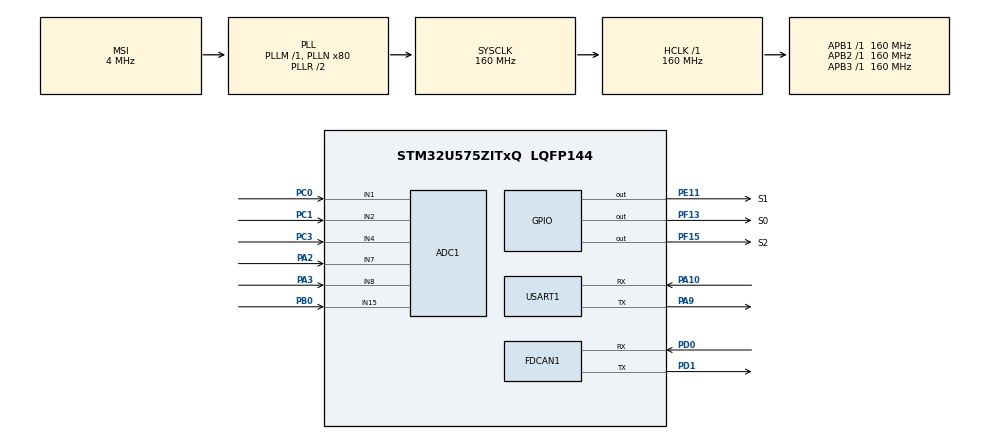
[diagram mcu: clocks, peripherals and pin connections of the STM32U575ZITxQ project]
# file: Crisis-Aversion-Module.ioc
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ADC1.Channel-1\#ChannelRegularConversion=ADC_CHANNEL_8
ADC1.Channel-2\#ChannelRegularConversion=ADC_CHANNEL_7
ADC1.Channel-3\#ChannelRegularConversion=ADC_CHANNEL_4
ADC1.Channel-4\#ChannelRegularConversion=ADC_CHANNEL_15
ADC1.Channel-5\#ChannelRegularConversion=ADC_CHANNEL_2
ADC1.Channel-6\#ChannelRegularConversion=ADC_CHANNEL_1
ADC1.ClockPrescaler=ADC_CLOCK_ASYNC_DIV1
ADC1.ContinuousConvMode=ENABLE
ADC1.ConversionDataManagement=ADC_CONVERSIONDATA_DMA_CIRCULAR
ADC1.EOCSelection=ADC_EOC_SEQ_CONV
ADC1.EnableRegularConversion=ENABLE
ADC1.MonitoredBy-1\#ChannelRegularConversion=__NULL
ADC1.MonitoredBy-2\#ChannelRegularConversion=__NULL
ADC1.MonitoredBy-3\#ChannelRegularConversion=__NULL
ADC1.MonitoredBy-4\#ChannelRegularConversion=__NULL
ADC1.MonitoredBy-5\#ChannelRegularConversion=__NULL
ADC1.MonitoredBy-6\#ChannelRegularConversion=__NULL
ADC1.NbrOfConversion=6
ADC1.NbrOfConversionFlag=1
ADC1.OffsetNumber-1\#ChannelRegularConversion=ADC_OFFSET_NONE
ADC1.OffsetNumber-2\#ChannelRegularConversion=ADC_OFFSET_NONE
ADC1.OffsetNumber-3\#ChannelRegularConversion=ADC_OFFSET_NONE
ADC1.OffsetNumber-4\#ChannelRegularConversion=ADC_OFFSET_NONE
ADC1.OffsetNumber-5\#ChannelRegularConversion=ADC_OFFSET_NONE
ADC1.OffsetNumber-6\#ChannelRegularConversion=ADC_OFFSET_NONE
ADC1.Overrun=ADC_OVR_DATA_OVERWRITTEN
ADC1.Rank-1\#ChannelRegularConversion=1
ADC1.Rank-2\#ChannelRegularConversion=2
ADC1.Rank-3\#ChannelRegularConversion=3
ADC1.Rank-4\#ChannelRegularConversion=4
ADC1.Rank-5\#ChannelRegularConversion=5
ADC1.Rank-6\#ChannelRegularConversion=6
ADC1.SamplingTime-1\#ChannelRegularConversion=ADC_SAMPLETIME_5CYCLE
ADC1.SamplingTime-2\#ChannelRegularConversion=ADC_SAMPLETIME_5CYCLE
ADC1.SamplingTime-3\#ChannelRegularConversion=ADC_SAMPLETIME_5CYCLE
ADC1.SamplingTime-4\#ChannelRegularConversion=ADC_SAMPLETIME_5CYCLE
ADC1.SamplingTime-5\#ChannelRegularConversion=ADC_SAMPLETIME_12CYCLES
ADC1.SamplingTime-6\#ChannelRegularConversion=ADC_SAMPLETIME_5CYCLE
ADC1.master=1
CORTEX_M33_NS.userName=CORTEX_M33
FDCAN1.CalculateBaudRateNominal=500000
FDCAN1.CalculateTimeBitNominal=2000
FDCAN1.CalculateTimeQuantumNominal=125.0
FDCAN1.ClockDivider=FDCAN_CLOCK_DIV2
FDCAN1.NominalPrescaler=10
FDCAN1.NominalTimeSeg1=13
GPDMA1.LINKALLOCATEDPORT_GPDMACH10=DMA_LINK_ALLOCATED_PORT1
GPDMA1.LINKEDLISTMODE_GPDMACH10=DMA_LINKEDLIST_CIRCULAR
GPDMA1.TRANSFEREVENTMODE_LL_GPDMACH10=DMA_TCEM_LAST_LL_ITEM_TRANSFER
Linkedlist.MDMA_Channel0.GP_SW.0.BlkHWRequest=DMA_BREQ_SINGLE_BURST
Linkedlist.MDMA_Channel0.GP_SW.0.DataHandling=NONE
Linkedlist.MDMA_Channel0.GP_SW.0.DataSize=0
Linkedlist.MDMA_Channel0.GP_SW.0.DestBurstLength=1
Linkedlist.MDMA_Channel0.GP_SW.0.DestDataWidth=DMA_DEST_DATAWIDTH_WORD
Linkedlist.MDMA_Channel0.GP_SW.0.DestInc=DMA_DINC_INCREMENTED
Linkedlist.MDMA_Channel0.GP_SW.0.Direction=DMA_PERIPH_TO_MEMORY
Linkedlist.MDMA_Channel0.GP_SW.0.DstAddress=0
Linkedlist.MDMA_Channel0.GP_SW.0.Instance=MDMA_Channel0
Linkedlist.MDMA_Channel0.GP_SW.0.LL_CIRCULARNODE=ADCNode
Linkedlist.MDMA_Channel0.GP_SW.0.LL_MASTERDMA=GPDMA
Linkedlist.MDMA_Channel0.GP_SW.0.LL_NAME=ADCQueue
Linkedlist.MDMA_Channel0.GP_SW.0.LL_TYPE=CIRCULAR
Linkedlist.MDMA_Channel0.GP_SW.0.NODE_NAME=ADCNode
Linkedlist.MDMA_Channel0.GP_SW.0.Requestforcodegen=GPDMA1_REQUEST_ADC1
Linkedlist.MDMA_Channel0.GP_SW.0.SrcAddress=0
Linkedlist.MDMA_Channel0.GP_SW.0.SrcBurstLength=1
Linkedlist.MDMA_Channel0.GP_SW.0.SrcDataWidth=DMA_SRC_DATAWIDTH_WORD
Linkedlist.MDMA_Channel0.GP_SW.0.SrcInc=DMA_SINC_FIXED
Linkedlist.MDMA_Channel0.GP_SW.0.TransferAllocatedPortSrc=DMA_SRC_ALLOCATED_PORT0
Linkedlist.MDMA_Channel0.GP_SW.0.TransferEventMode=DMA_TCEM_BLOCK_TRANSFER
Linkedlist.MDMA_Channel0.GP_SW.0.TriggerPolarity=DMA_TRIG_POLARITY_MASKED
Linkedlist.MDMA_Channel0.Request0=GP_SW
Linkedlist.MDMA_Channel0.RequestsNb=1
Linkedlist.RequestSet0=MDMA_Channel0
Linkedlist.RequestSetsNb=1
Mcu.Family=STM32U5
Mcu.Name=STM32U575ZITxQ
Mcu.Package=LQFP144
NVIC.GPDMA1_Channel10_IRQn=true\:0\:0\:false\:false\:true\:true\:true\:true
NVIC.PriorityGroup=NVIC_PRIORITYGROUP_4
PA10.Mode=Asynchronous
PA10.Signal=USART1_RX
PA2.Mode=IN7-Single-Ended
PA2.Signal=ADC1_IN7
PA3.Mode=IN8-Single-Ended
PA3.Signal=ADC1_IN8
PA9.Mode=Asynchronous
PA9.Signal=USART1_TX
PB0.Mode=IN15-Single-Ended
PB0.Signal=ADC1_IN15
PC0.Mode=IN1-Single-Ended
PC0.Signal=ADC1_IN1
PC1.Mode=IN2-Single-Ended
PC1.Signal=ADC1_IN2
PC3.Mode=IN4-Single-Ended
PC3.Signal=ADC1_IN4
PD0.Mode=FDCAN_Activate
PD0.Signal=FDCAN1_RX
PD1.Mode=FDCAN_Activate
PD1.Signal=FDCAN1_TX
PE11.GPIO_Label=S1
PE11.Signal=GPIO_Output
PF13.GPIO_Label=S0
PF13.Signal=GPIO_Output
PF15.GPIO_Label=S2
PF15.Signal=GPIO_Output
PG15.Signal=GPXTI15
PWR.PowerMode=PWR_SMPS_SUPPLY
ProjectManager.HeapSize=0x200
ProjectManager.StackSize=0x400
ProjectManager.TargetToolchain=Makefile
RCC.ADCFreq_Value=16000000
RCC.AHBFreq_Value=160000000
RCC.APB1Freq_Value=160000000
RCC.APB1TimFreq_Value=160000000
RCC.APB2Freq_Value=160000000
RCC.APB2TimFreq_Value=160000000
RCC.APB3Freq_Value=160000000
RCC.CortexFreq_Value=160000000
RCC.DACCLockSelectionVirtual=RCC_DAC1CLKSOURCE_LSI
RCC.EPOD_VALUE=4000000
RCC.HCLKFreq_Value=160000000
RCC.HSE_VALUE=16000000
RCC.HSI48_VALUE=48000000
RCC.HSI_VALUE=16000000
RCC.LSE_VALUE=32768
RCC.LSIDIV_VALUE=32000
RCC.MSI_VALUE=4000000
RCC.PLLN=80
RCC.SYSCLKFreq_VALUE=160000000
RCC.SYSCLKSource=RCC_SYSCLKSOURCE_PLLCLK
RCC.USBFreq_Value=48000000
RCC.VCOOutputFreq_Value=320000000
USART1.VirtualMode-Asynchronous=VM_ASYNC
VP_GPDMA1_VS_GPDMACH10.Mode=LINKEDLIST_GPDMACH10
VP_ICACHE_VS_ICACHE.Mode=DirectMappedCache
VP_LPBAMQUEUE_VS_QUEUE.Mode=QUEUEMODE
VP_LPBAM_VS_SIG1.Mode=SmartRun
VP_LPBAM_VS_SIG4.Mode=LPDMA1
VP_PWR_VS_DBSignals.Mode=DisableDeadBatterySignals
VP_PWR_VS_LPOM.Mode=PowerOptimisation
VP_PWR_VS_SECSignals.Mode=Security/Privilege
board=NUCLEO-U575ZI-Q

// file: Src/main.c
/* USER CODE BEGIN Header */
/**
 ******************************************************************************
 * @file           : main.c
 * @brief          : Main program body
 ******************************************************************************
 * @attention
 *
 * Copyright (c) 2021 STMicroelectronics.
 * All rights reserved.
 *
 * This software is licensed under terms that can be found in the LICENSE file
 * in the root directory of this software component.
 * If no LICENSE file comes with this software, it is provided AS-IS.
 *
 ******************************************************************************
 */
/* USER CODE END Header */
#include "main.h"

/* USER CODE BEGIN Includes */
#include <stdio.h>
#include "retarget.h"
/* USER CODE END Includes */

ADC_HandleTypeDef hadc1;

FDCAN_HandleTypeDef hfdcan1;

DMA_HandleTypeDef handle_GPDMA1_Channel10;

UART_HandleTypeDef huart1;

void SystemClock_Config(void);
static void SystemPower_Config(void);
static void MX_GPIO_Init(void);
static void MX_GPDMA1_Init(void);
static void MX_ICACHE_Init(void);
static void MX_ADC1_Init(void);
static void MX_FDCAN1_Init(void);
static void MX_USART1_UART_Init(void);
/* USER CODE BEGIN PFP */
int setMux(int channel);

/* USER CODE END PFP */

/* USER CODE BEGIN 0 */
#define ADC_CONVERTED_DATA_BUFFER_SIZE ((uint32_t)12) /* Size of array aADCxConvertedData[] */
uint32_t ADC1RawData[ADC_CONVERTED_DATA_BUFFER_SIZE]; // Variable containing ADC conversions data
uint8_t channelList[] = {7, 5, 6, 4, 2};              // mux channel list for sensors modules 1 - 5
uint32_t convertedTemps[5][6];                        // 5 modules, 5 temperatures per module (one's broken).
FDCAN_TxHeaderTypeDef TxHeader;
int8_t BMSBroadcastMsg[8];

/* USER CODE END 0 */

int main(void)
{
  /* USER CODE BEGIN 1 */
  /* STM32U5xx HAL library initialization:
       - Configure the Flash prefetch
       - Configure the Systick to generate an interrupt each 1 msec
       - Set NVIC Group Priority to 3
       - Low Level Initialization
     */
  /* USER CODE END 1 */

  /* MCU Configuration--------------------------------------------------------*/

  /* Reset of all peripherals, Initializes the Flash interface and the Systick. */
  HAL_Init();

  /* Configure the system clock */
  SystemClock_Config();

  /* Configure the System Power */
  SystemPower_Config();

  /* Initialize all configured peripherals */
  MX_GPIO_Init();
  MX_GPDMA1_Init();
  MX_ICACHE_Init();
  MX_ADC1_Init();
  MX_FDCAN1_Init();
  MX_USART1_UART_Init();
  /* USER CODE BEGIN 2 */

RetargetInit(&huart1);

  MX_ADCQueue_Config();
  __HAL_LINKDMA(&hadc1, DMA_Handle, handle_GPDMA1_Channel10);
  if (HAL_DMAEx_List_LinkQ(&handle_GPDMA1_Channel10, &ADCQueue) != HAL_OK)
  {
    Error_Handler();
  }
  if (HAL_ADC_Start_DMA(&hadc1,
                        (uint32_t *)ADC1RawData,
                        (ADC_CONVERTED_DATA_BUFFER_SIZE)) != HAL_OK)
  {
    Error_Handler();
  }

  /*CAN TX setup; min/max temp data*/
  TxHeader.IdType = FDCAN_EXTENDED_ID;
  TxHeader.TxFrameType = FDCAN_FRAME_CLASSIC;
  TxHeader.DataLength = FDCAN_DLC_BYTES_8;
  TxHeader.Identifier = 0x1839F380;

  if (HAL_FDCAN_Start(&hfdcan1) != HAL_OK)
  {
    Error_Handler();
  }

  /* USER CODE END 2 */

  /* Infinite loop */
  /* USER CODE BEGIN WHILE */

  HAL_ADC_Start_DMA(&hadc1, ADC1RawData, 6);
  while (1)
  {

    int32_t avgTemp = 0;
    for (int i = 0; i <= 4; i++)
    {
      setMux(channelList[i]);
      HAL_Delay(20);
      // we skip 0 because that's the non-functional sensor
      convertedTemps[i][1] = ((ADC1RawData[1] / 16384.0f) * 3.3) * 100; // temperature conversion formula, convert to voltage then from voltage to temp
      convertedTemps[i][2] = ((ADC1RawData[2] / 16384.0f) * 3.3) * 100;
      convertedTemps[i][3] = ((ADC1RawData[3] / 16384.0f) * 3.3) * 100;
      convertedTemps[i][4] = ((ADC1RawData[4] / 16384.0f) * 3.3) * 100;
      convertedTemps[i][5] = ((ADC1RawData[5] / 16384.0f) * 3.3) * 100;
      avgTemp += convertedTemps[i][1] + convertedTemps[i][2] + convertedTemps[i][3] + convertedTemps[i][4] + convertedTemps[i][5];

      printf("Module %d: %d %d %d %d %d ", i, convertedTemps[i][1],convertedTemps[i][2],convertedTemps[i][3],convertedTemps[i][4],convertedTemps[i][5]);

    }
    avgTemp = avgTemp / 25; // 25 total temp sensors
    printf("average temp: %d\n", avgTemp);

    /* Find Max and Min temp*/
    int32_t maxTemp = 0;
    int32_t minTemp = 1000;
    int8_t highestID = 0;
    int8_t lowestID = 0;
    for (int i = 0; i <= 4; i++)
    {
      for (int j = 1; j <= 5; j++)
      {
        int32_t temp = convertedTemps[i][j];
        if (temp > maxTemp)
        {
          maxTemp = temp;
          highestID = (5 * i) + j;
        }
        if (temp < minTemp)
        {
          minTemp = temp;
          lowestID = (5 * i) + j;
        }
        // ** REMOVE THIS TO DISABLE OPEN CIRCUIT CHECK **
        if (temp <= 1){ // if any of the temp sensors disconnects, report maxed out temp to error out the system
          maxTemp = 100;
        }
      }
    }
    printf("\nmax: %d min: %d \n", maxTemp, minTemp);

    /*CAN Message - protocol can be found at https://www.orionbms.com/downloads/misc/thermistor_module_canbus.pdf */
    BMSBroadcastMsg[0] = 0; // pretending it's just 1 thermistor module
    BMSBroadcastMsg[1] = minTemp;
    BMSBroadcastMsg[2] = maxTemp;
    BMSBroadcastMsg[3] = avgTemp;
    BMSBroadcastMsg[4] = 24; // number of thermistors enabled, 0 based
    BMSBroadcastMsg[5] = highestID;
    BMSBroadcastMsg[6] = lowestID;
    /*checksum*/
    BMSBroadcastMsg[7]= BMSBroadcastMsg[0] + BMSBroadcastMsg[1] + BMSBroadcastMsg[2] + BMSBroadcastMsg[3] + BMSBroadcastMsg[4] + BMSBroadcastMsg[5] + BMSBroadcastMsg[6] + 57 + 8;
    HAL_FDCAN_AddMessageToTxFifoQ(&hfdcan1, &TxHeader, BMSBroadcastMsg);
    /* USER CODE END WHILE */

  }
}

void SystemClock_Config(void)
{
  RCC_OscInitTypeDef RCC_OscInitStruct = {0};
  RCC_ClkInitTypeDef RCC_ClkInitStruct = {0};

  /** Configure the main internal regulator output voltage
   */
  if (HAL_PWREx_ControlVoltageScaling(PWR_REGULATOR_VOLTAGE_SCALE1) != HAL_OK)
  {
    Error_Handler();
  }

  /** Initializes the CPU, AHB and APB buses clocks
   */
  RCC_OscInitStruct.OscillatorType = RCC_OSCILLATORTYPE_HSI | RCC_OSCILLATORTYPE_MSI;
  RCC_OscInitStruct.HSIState = RCC_HSI_ON;
  RCC_OscInitStruct.HSICalibrationValue = RCC_HSICALIBRATION_DEFAULT;
  RCC_OscInitStruct.MSIState = RCC_MSI_ON;
  RCC_OscInitStruct.MSICalibrationValue = RCC_MSICALIBRATION_DEFAULT;
  RCC_OscInitStruct.MSIClockRange = RCC_MSIRANGE_4;
  RCC_OscInitStruct.PLL.PLLState = RCC_PLL_ON;
  RCC_OscInitStruct.PLL.PLLSource = RCC_PLLSOURCE_MSI;
  RCC_OscInitStruct.PLL.PLLMBOOST = RCC_PLLMBOOST_DIV1;
  RCC_OscInitStruct.PLL.PLLM = 1;
  RCC_OscInitStruct.PLL.PLLN = 80;
  RCC_OscInitStruct.PLL.PLLP = 2;
  RCC_OscInitStruct.PLL.PLLQ = 2;
  RCC_OscInitStruct.PLL.PLLR = 2;
  RCC_OscInitStruct.PLL.PLLRGE = RCC_PLLVCIRANGE_0;
  RCC_OscInitStruct.PLL.PLLFRACN = 0;
  if (HAL_RCC_OscConfig(&RCC_OscInitStruct) != HAL_OK)
  {
    Error_Handler();
  }

  /** Initializes the CPU, AHB and APB buses clocks
   */
  RCC_ClkInitStruct.ClockType = RCC_CLOCKTYPE_HCLK | RCC_CLOCKTYPE_SYSCLK | RCC_CLOCKTYPE_PCLK1 | RCC_CLOCKTYPE_PCLK2 | RCC_CLOCKTYPE_PCLK3;
  RCC_ClkInitStruct.SYSCLKSource = RCC_SYSCLKSOURCE_PLLCLK;
  RCC_ClkInitStruct.AHBCLKDivider = RCC_SYSCLK_DIV1;
  RCC_ClkInitStruct.APB1CLKDivider = RCC_HCLK_DIV1;
  RCC_ClkInitStruct.APB2CLKDivider = RCC_HCLK_DIV1;
  RCC_ClkInitStruct.APB3CLKDivider = RCC_HCLK_DIV1;

  if (HAL_RCC_ClockConfig(&RCC_ClkInitStruct, FLASH_LATENCY_4) != HAL_OK)
  {
    Error_Handler();
  }
}

/**
 * @brief Power Configuration
 * @retval None
 */
static void SystemPower_Config(void)
{
  HAL_PWREx_EnableVddIO2();

  /*
   * Disable the internal Pull-Up in Dead Battery pins of UCPD peripheral
   */
  HAL_PWREx_DisableUCPDDeadBattery();

  /*
   * Switch to SMPS regulator instead of LDO
   */
  if (HAL_PWREx_ConfigSupply(PWR_SMPS_SUPPLY) != HAL_OK)
  {
    Error_Handler();
  }
}

static void MX_ADC1_Init(void)
{

  ADC_ChannelConfTypeDef sConfig = {0};

  /** Common config
   */
  hadc1.Instance = ADC1;
  hadc1.Init.ClockPrescaler = ADC_CLOCK_ASYNC_DIV1;
  hadc1.Init.Resolution = ADC_RESOLUTION_14B;
  hadc1.Init.GainCompensation = 0;
  hadc1.Init.ScanConvMode = ADC_SCAN_ENABLE;
  hadc1.Init.EOCSelection = ADC_EOC_SEQ_CONV;
  hadc1.Init.LowPowerAutoWait = DISABLE;
  hadc1.Init.ContinuousConvMode = ENABLE;
  hadc1.Init.NbrOfConversion = 6;
  hadc1.Init.DiscontinuousConvMode = DISABLE;
  hadc1.Init.ExternalTrigConv = ADC_SOFTWARE_START;
  hadc1.Init.ExternalTrigConvEdge = ADC_EXTERNALTRIGCONVEDGE_NONE;
  hadc1.Init.DMAContinuousRequests = DISABLE;
  hadc1.Init.TriggerFrequencyMode = ADC_TRIGGER_FREQ_HIGH;
  hadc1.Init.Overrun = ADC_OVR_DATA_OVERWRITTEN;
  hadc1.Init.LeftBitShift = ADC_LEFTBITSHIFT_NONE;
  hadc1.Init.ConversionDataManagement = ADC_CONVERSIONDATA_DMA_CIRCULAR;
  hadc1.Init.OversamplingMode = DISABLE;
  if (HAL_ADC_Init(&hadc1) != HAL_OK)
  {
    Error_Handler();
  }

  /** Configure Regular Channel
   */
  sConfig.Channel = ADC_CHANNEL_8;
  sConfig.Rank = ADC_REGULAR_RANK_1;
  sConfig.SamplingTime = ADC_SAMPLETIME_5CYCLE;
  sConfig.SingleDiff = ADC_SINGLE_ENDED;
  sConfig.OffsetNumber = ADC_OFFSET_NONE;
  sConfig.Offset = 0;
  if (HAL_ADC_ConfigChannel(&hadc1, &sConfig) != HAL_OK)
  {
    Error_Handler();
  }

  /** Configure Regular Channel
   */
  sConfig.Channel = ADC_CHANNEL_7;
  sConfig.Rank = ADC_REGULAR_RANK_2;
  if (HAL_ADC_ConfigChannel(&hadc1, &sConfig) != HAL_OK)
  {
    Error_Handler();
  }

  /** Configure Regular Channel
   */
  sConfig.Channel = ADC_CHANNEL_4;
  sConfig.Rank = ADC_REGULAR_RANK_3;
  if (HAL_ADC_ConfigChannel(&hadc1, &sConfig) != HAL_OK)
  {
    Error_Handler();
  }

  /** Configure Regular Channel
   */
  sConfig.Channel = ADC_CHANNEL_15;
  sConfig.Rank = ADC_REGULAR_RANK_4;
  if (HAL_ADC_ConfigChannel(&hadc1, &sConfig) != HAL_OK)
  {
    Error_Handler();
  }

  /** Configure Regular Channel
   */
  sConfig.Channel = ADC_CHANNEL_2;
  sConfig.Rank = ADC_REGULAR_RANK_5;
  sConfig.SamplingTime = ADC_SAMPLETIME_12CYCLES;
  if (HAL_ADC_ConfigChannel(&hadc1, &sConfig) != HAL_OK)
  {
    Error_Handler();
  }

  /** Configure Regular Channel
   */
  sConfig.Channel = ADC_CHANNEL_1;
  sConfig.Rank = ADC_REGULAR_RANK_6;
  sConfig.SamplingTime = ADC_SAMPLETIME_5CYCLE;
  if (HAL_ADC_ConfigChannel(&hadc1, &sConfig) != HAL_OK)
  {
    Error_Handler();
  }
}

static void MX_FDCAN1_Init(void)
{

  hfdcan1.Instance = FDCAN1;
  hfdcan1.Init.ClockDivider = FDCAN_CLOCK_DIV2;
  hfdcan1.Init.FrameFormat = FDCAN_FRAME_CLASSIC;
  hfdcan1.Init.Mode = FDCAN_MODE_NORMAL;
  hfdcan1.Init.AutoRetransmission = DISABLE;
  hfdcan1.Init.TransmitPause = DISABLE;
  hfdcan1.Init.ProtocolException = DISABLE;
  hfdcan1.Init.NominalPrescaler = 10;
  hfdcan1.Init.NominalSyncJumpWidth = 1;
  hfdcan1.Init.NominalTimeSeg1 = 13;
  hfdcan1.Init.NominalTimeSeg2 = 2;
  hfdcan1.Init.DataPrescaler = 1;
  hfdcan1.Init.DataSyncJumpWidth = 1;
  hfdcan1.Init.DataTimeSeg1 = 1;
  hfdcan1.Init.DataTimeSeg2 = 1;
  hfdcan1.Init.StdFiltersNbr = 0;
  hfdcan1.Init.ExtFiltersNbr = 0;
  hfdcan1.Init.TxFifoQueueMode = FDCAN_TX_FIFO_OPERATION;
  if (HAL_FDCAN_Init(&hfdcan1) != HAL_OK)
  {
    Error_Handler();
  }
}

static void MX_GPDMA1_Init(void)
{

  /* Peripheral clock enable */
  __HAL_RCC_GPDMA1_CLK_ENABLE();

  /* GPDMA1 interrupt Init */
  HAL_NVIC_SetPriority(GPDMA1_Channel10_IRQn, 0, 0);
  HAL_NVIC_EnableIRQ(GPDMA1_Channel10_IRQn);

  handle_GPDMA1_Channel10.Instance = GPDMA1_Channel10;
  handle_GPDMA1_Channel10.InitLinkedList.Priority = DMA_LOW_PRIORITY_LOW_WEIGHT;
  handle_GPDMA1_Channel10.InitLinkedList.LinkStepMode = DMA_LSM_FULL_EXECUTION;
  handle_GPDMA1_Channel10.InitLinkedList.LinkAllocatedPort = DMA_LINK_ALLOCATED_PORT1;
  handle_GPDMA1_Channel10.InitLinkedList.TransferEventMode = DMA_TCEM_LAST_LL_ITEM_TRANSFER;
  handle_GPDMA1_Channel10.InitLinkedList.LinkedListMode = DMA_LINKEDLIST_CIRCULAR;
  if (HAL_DMAEx_List_Init(&handle_GPDMA1_Channel10) != HAL_OK)
  {
    Error_Handler();
  }
  if (HAL_DMA_ConfigChannelAttributes(&handle_GPDMA1_Channel10, DMA_CHANNEL_NPRIV) != HAL_OK)
  {
    Error_Handler();
  }
}

static void MX_ICACHE_Init(void)
{

  /** Enable instruction cache in 1-way (direct mapped cache)
   */
  if (HAL_ICACHE_ConfigAssociativityMode(ICACHE_1WAY) != HAL_OK)
  {
    Error_Handler();
  }
  if (HAL_ICACHE_Enable() != HAL_OK)
  {
    Error_Handler();
  }
}

static void MX_USART1_UART_Init(void)
{

  huart1.Instance = USART1;
  huart1.Init.BaudRate = 115200;
  huart1.Init.WordLength = UART_WORDLENGTH_8B;
  huart1.Init.StopBits = UART_STOPBITS_1;
  huart1.Init.Parity = UART_PARITY_NONE;
  huart1.Init.Mode = UART_MODE_TX_RX;
  huart1.Init.HwFlowCtl = UART_HWCONTROL_NONE;
  huart1.Init.OverSampling = UART_OVERSAMPLING_16;
  huart1.Init.OneBitSampling = UART_ONE_BIT_SAMPLE_DISABLE;
  huart1.Init.ClockPrescaler = UART_PRESCALER_DIV1;
  huart1.AdvancedInit.AdvFeatureInit = UART_ADVFEATURE_NO_INIT;
  if (HAL_UART_Init(&huart1) != HAL_OK)
  {
    Error_Handler();
  }
  if (HAL_UARTEx_SetTxFifoThreshold(&huart1, UART_TXFIFO_THRESHOLD_1_8) != HAL_OK)
  {
    Error_Handler();
  }
  if (HAL_UARTEx_SetRxFifoThreshold(&huart1, UART_RXFIFO_THRESHOLD_1_8) != HAL_OK)
  {
    Error_Handler();
  }
  if (HAL_UARTEx_DisableFifoMode(&huart1) != HAL_OK)
  {
    Error_Handler();
  }
}

static void MX_GPIO_Init(void)
{
  GPIO_InitTypeDef GPIO_InitStruct = {0};

  /* GPIO Ports Clock Enable */
  __HAL_RCC_GPIOC_CLK_ENABLE();
  __HAL_RCC_GPIOA_CLK_ENABLE();
  __HAL_RCC_GPIOB_CLK_ENABLE();
  __HAL_RCC_GPIOF_CLK_ENABLE();
  __HAL_RCC_GPIOE_CLK_ENABLE();
  __HAL_RCC_GPIOD_CLK_ENABLE();
  __HAL_RCC_GPIOG_CLK_ENABLE();

  /*Configure GPIO pin Output Level */
  HAL_GPIO_WritePin(GPIOF, S0_Pin | S2_Pin, GPIO_PIN_RESET);

  /*Configure GPIO pin Output Level */
  HAL_GPIO_WritePin(S1_GPIO_Port, S1_Pin, GPIO_PIN_RESET);

  /*Configure GPIO pins : S0_Pin S2_Pin */
  GPIO_InitStruct.Pin = S0_Pin | S2_Pin;
  GPIO_InitStruct.Mode = GPIO_MODE_OUTPUT_PP;
  GPIO_InitStruct.Pull = GPIO_NOPULL;
  GPIO_InitStruct.Speed = GPIO_SPEED_FREQ_LOW;
  HAL_GPIO_Init(GPIOF, &GPIO_InitStruct);

  /*Configure GPIO pin : S1_Pin */
  GPIO_InitStruct.Pin = S1_Pin;
  GPIO_InitStruct.Mode = GPIO_MODE_OUTPUT_PP;
  GPIO_InitStruct.Pull = GPIO_NOPULL;
  GPIO_InitStruct.Speed = GPIO_SPEED_FREQ_LOW;
  HAL_GPIO_Init(S1_GPIO_Port, &GPIO_InitStruct);

  /*Configure GPIO pin : PG15 */
  GPIO_InitStruct.Pin = GPIO_PIN_15;
  GPIO_InitStruct.Mode = GPIO_MODE_IT_RISING;
  GPIO_InitStruct.Pull = GPIO_NOPULL;
  HAL_GPIO_Init(GPIOG, &GPIO_InitStruct);

}

/* USER CODE BEGIN 4 */

/**
 * @brief  Conversion complete callback in non-blocking mode
 * @param  hadc: ADC handle
 * @retval None
 */
void HAL_ADC_ConvHalfCpltCallback(ADC_HandleTypeDef *hadc)
{
  /* Add code to be performed after DMA half complete */
}

/**
 * @brief  Conversion DMA half-transfer callback in non-blocking mode
 * @param  hadc: ADC handle
 * @retval None
 */
void HAL_ADC_ConvCpltCallback(ADC_HandleTypeDef *hadc)
{
  /* Add code to be performed after DMA full complete */
}

int setMux(int channel)
{
  if (channel > 8)
  {
    printf("channel %d out of bounds \n", channel);
    // selection out of bounds
    return 0;
  }
  //printf("Channel %d selected\n", channel);
  channel -= 0; // convert from counting from 1 to counting from 0
  HAL_GPIO_WritePin(S0_GPIO_Port, S0_Pin, (channel & (1 << 0)) >> 0);
  HAL_GPIO_WritePin(S1_GPIO_Port, S1_Pin, (channel & (1 << 1)) >> 1);
  HAL_GPIO_WritePin(S2_GPIO_Port, S2_Pin, (channel & (1 << 2)) >> 2);

  return 1;
}
/* USER CODE END 4 */

void Error_Handler(void)
{
  __disable_irq();
  while (1)
  {
  }
}
